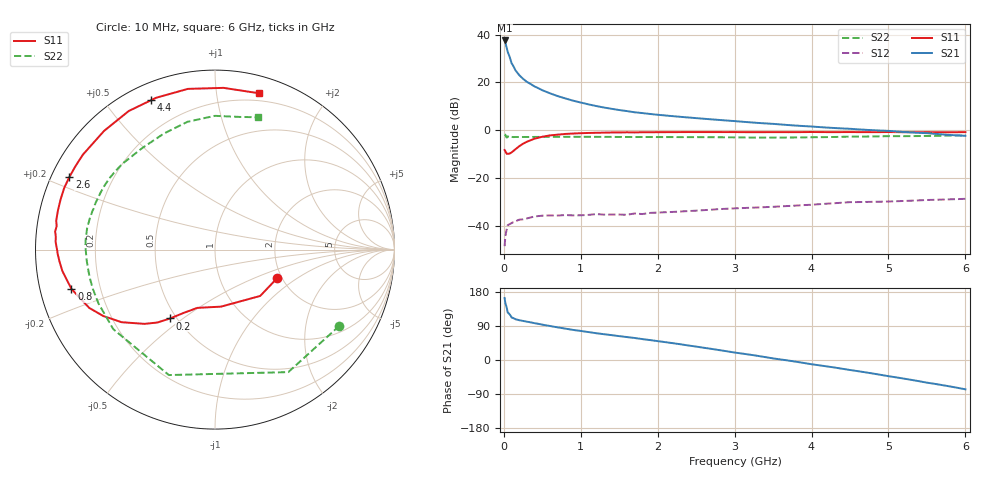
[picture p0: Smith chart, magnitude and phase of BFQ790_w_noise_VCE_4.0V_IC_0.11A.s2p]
! (c) 2015  Infineon Technologies AG, Munich
! Infineon Technologies  Discrete & RF Semiconductors
! BFQ790
! VCE =  4.0 V,  IC = 0.11 A
! Common Emitter S-Parameters:  May 2015
# GHz  S  MA  R  50
!  f  S11  S21  S12  S22
! GHz  MAG  ANG  MAG  ANG  MAG  ANG  MAG  ANG
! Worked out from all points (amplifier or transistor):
!   77 points, 10 MHz to 6 GHz, reference 50 ohm
!   highest |S21| = 37.5 dB at 10 MHz (marker M1)
!   |S21| within 3 dB of that: start of sweep to 36.23 MHz
!   unconditionally stable (mu >= 1): 249.9 MHz to 329.7 MHz; 1.064 GHz to 1.171 GHz; 1.211 GHz to end of sweep
!   at 130 MHz: K = 0.77, MSG = 32.5 dB, |S12| = -38.6 dB
!   at 2.2 GHz: K = 1.25, MAG = 17.1 dB, |S12| = -34.3 dB
!   at 6 GHz: K = 1.25, MAG = 10.2 dB, |S12| = -28.8 dB
!   lowest NFmin = 2.66 dB at 1.5 GHz
!   S11 on the Smith chart (normalised r, x): 10 MHz: 1.90, -0.70; 200 MHz: 0.46, -0.45; 800 MHz: 0.10, -0.13; 2.6 GHz: 0.05, +0.23; 4.4 GHz: 0.07, +0.66; 6 GHz: 0.14, +1.31
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0.01  0.3817 -24.4  75.14 163.6  0.0037 55.6  0.8128 -31.5
0.02  0.3607 -45.7  67.23 149.4  0.006 55.6  0.7955 -59.1
0.05  0.3195 -83.9  43.48 125.4  0.0102 34.4  0.7448 -110.2
0.1  0.3394 -106.9  25.27 112.2  0.0113 20.1  0.7195 -142.0
0.15  0.3948 -116.5  17.94 107.7  0.0122 21.3  0.7151 -155.1
0.2  0.4579 -123.1  14.14 105.0  0.0133 19.6  0.7151 -162.1
0.25  0.5176 -128.3  11.8 103.1  0.0135 18.7  0.7149 -166.7
0.3  0.5695 -133.4  10.2 101.1  0.0141 13.5  0.7152 -170.1
0.4  0.6597 -142.2  8.167 97.1  0.0155 14.3  0.7173 -175.0
0.5  0.7236 -149.2  6.821 93.3  0.0161 11.4  0.719 -178.5
0.6  0.7721 -155.1  5.876 89.7  0.0163 9.5  0.722 178.6
0.7  0.7999 -160.3  5.136 86.1  0.0162 8.9  0.7225 176.3
0.8  0.8291 -164.7  4.591 82.8  0.0166 6.4  0.7227 174.3
1.1  0.8685 -175.5  3.448 73.7  0.0167 7.0  0.7216 169.2
1.5  0.8899 175.3  2.623 63.0  0.017 5.1  0.7162 163.6
2.1  0.9026 164.1  2.017 47.1  0.019 4.0  0.7122 155.2
2.6  0.9067 153.6  1.724 32.3  0.021 1.2  0.7097 145.9
3.1  0.9034 142.1  1.493 16.9  0.0232 -4.7  0.6995 134.8
4.1  0.9065 119.8  1.154 -14.0  0.028 -16.7  0.7084 111.4
4.4  0.9052 113.3  1.08 -23.1  0.0301 -21.2  0.7217 104.4
5.1  0.9035 97.1  0.934 -45.8  0.0323 -34.4  0.7445 87.9
6  0.905 74.2  0.757 -77.4  0.0363 -52.7  0.7751 72.0
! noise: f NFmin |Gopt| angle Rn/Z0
0.45  4.14  0.4  133  0.41
0.9  2.96  0.54  164  0.14
1.5  2.66  0.66  -175  0.07
1.8  2.77  0.68  -169  0.08
2.6  3.18  0.72  -153  0.2
3.5  3.77  0.83  -136  0.49
